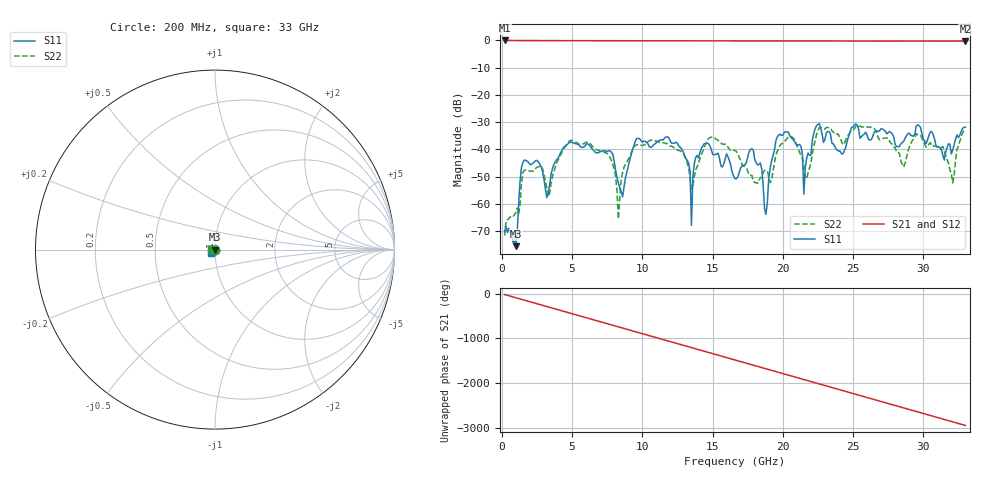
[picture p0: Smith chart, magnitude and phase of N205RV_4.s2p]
# GHZ S RI R 50
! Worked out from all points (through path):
!   329 points, 200 MHz to 33 GHz, reference 50 ohm
!   highest |S21| = -0.02 dB at 200 MHz (marker M1); lowest = -0.3 dB at 33 GHz (marker M2)
!   group delay of S21, straight-line fit = 248 ps
!   lowest |S11| = -75.5 dB at 1 GHz (marker M3), VSWR 1.00, Z = 50 + j0.0162 ohm
!   |S11| at or under -10 dB: start of sweep to end of sweep
!   |S22| runs from -71.6 to -31.1 dB; largest |S21 - S12| = 0.0019
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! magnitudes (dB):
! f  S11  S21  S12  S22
! 200 MHz  -70.2  0.0  0.0  -71.6
! 1 GHz  -75.5  0.0  0.0  -63.2
! 1.6 GHz  -43.9  -0.1  -0.1  -47.7
! 3.2 GHz  -57.7  -0.1  -0.1  -54.0
! 5.7 GHz  -39.3  -0.1  -0.1  -38.1
! 7.8 GHz  -41.0  -0.1  -0.1  -44.0
! 8.3 GHz  -52.4  -0.1  -0.1  -65.4
! 9.4 GHz  -38.6  -0.1  -0.1  -39.2
! 11.2 GHz  -36.8  -0.1  -0.1  -37.4
! 13.3 GHz  -45.2  -0.2  -0.2  -47.0
! 13.5 GHz  -67.9  -0.2  -0.2  -54.6
! 13.7 GHz  -45.3  -0.2  -0.2  -50.0
! 14.4 GHz  -37.9  -0.2  -0.2  -39.4
! 16.6 GHz  -50.8  -0.2  -0.2  -40.3
! 17.9 GHz  -40.2  -0.2  -0.2  -51.7
! 18.8 GHz  -63.8  -0.2  -0.2  -47.6
! 19.6 GHz  -35.4  -0.2  -0.2  -40.8
! 21.5 GHz  -56.4  -0.2  -0.2  -46.0
! 22.1 GHz  -36.7  -0.2  -0.2  -41.5
! 27.6 GHz  -33.4  -0.2  -0.2  -37.0
! 32.1 GHz  -40.2  -0.2  -0.2  -52.3
! 33 GHz  -31.8  -0.3  -0.3  -32.9
